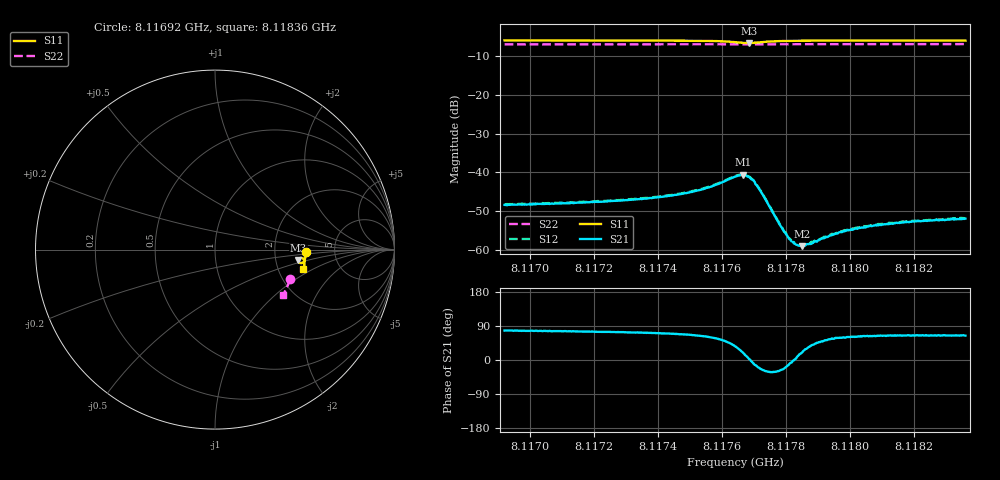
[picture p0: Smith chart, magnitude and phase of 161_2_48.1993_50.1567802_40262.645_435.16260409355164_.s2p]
#  HZ  S  RI  R  50.00
! Rohde & Schwarz Vector Network Analyzer
! Rohde-Schwarz,ZNB20-2Port,1311601062101988,3.16
! Created: UTC 3/20/2024, 11:43:13 AM
! freq[Hz]  re:S11  im:S11  re:S21  im:S21  re:S12  im:S12  re:S22  im:S22
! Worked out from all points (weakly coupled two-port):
!   401 points, 8.11692 GHz to 8.11836 GHz, reference 50 ohm
!   highest |S21| = -40.64 dB at 8.117665 GHz (marker M1); lowest = -59.1 dB at 8.117849 GHz (marker M2)
!   lowest |S11| = -6.6 dB at 8.117683 GHz (marker M3), VSWR 2.76, Z = 135 - j20 ohm
!   |S11| at or under -10 dB: nowhere
!   |S22| runs from -6.9 to -6.8 dB; largest |S21 - S12| = 0.00048
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8.1169199e9  0.5061 -0.0108  0.000807 0.0037  0.000855 0.00377  0.4196 -0.1641
8.1171611e9  0.5049 -0.03  0.00104 0.00392  0.00107 0.00399  0.4138 -0.1799
8.1172871e9  0.5036 -0.0404  0.00122 0.00414  0.00129 0.00421  0.4106 -0.188
8.1174023e9  0.5019 -0.0509  0.00158 0.0045  0.00166 0.00454  0.4074 -0.1955
8.1174706e9  0.5 -0.0578  0.00196 0.00486  0.00203 0.00487  0.4053 -0.2001
8.117539e9  0.4963 -0.0658  0.00273 0.00538  0.00282 0.00548  0.4033 -0.2044
8.1176398e9  0.4757 -0.0755  0.00704 0.00521  0.00726 0.00527  0.3994 -0.2107
8.117665e9  0.4662 -0.0682  0.00876 0.00309  0.00893 0.00293  0.3983 -0.2118
8.117683e9  0.4646 -0.0581  0.00871 0.000508  0.00879 0.000421  0.3979 -0.2122
8.117701e9  0.4696 -0.0493  0.00737 -0.00163  0.00732 -0.0016  0.3975 -0.2132
8.1177154e9  0.4761 -0.046  0.00569 -0.00217  0.00578 -0.00226  0.3977 -0.214
8.1177874e9  0.4948 -0.055  0.00171 -0.000803  0.00174 -0.00081  0.3962 -0.2189
8.117809e9  0.4965 -0.0585  0.00135 -0.000262  0.00137 -0.000326  0.3957 -0.2203
8.1178306e9  0.4975 -0.0618  0.00115 8.56e-05  0.00121 0.0001  0.3948 -0.2218
8.1178486e9  0.4981 -0.0643  0.00105 0.000363  0.00107 0.000394  0.3944 -0.2229
8.117881e9  0.4984 -0.0684  0.000931 0.00077  0.000982 0.000807  0.3933 -0.2247
8.1179386e9  0.4984 -0.0748  0.000875 0.00125  0.000903 0.0013  0.3915 -0.2287
8.1179854e9  0.4982 -0.0793  0.000891 0.0015  0.000911 0.00152  0.3898 -0.2317
8.1180466e9  0.4975 -0.0848  0.000881 0.00172  0.000923 0.00179  0.3879 -0.2352
8.1181222e9  0.4965 -0.0913  0.000926 0.00194  0.000979 0.00201  0.3854 -0.2402
8.1182014e9  0.4954 -0.0978  0.000989 0.00209  0.00102 0.00215  0.3826 -0.2447
8.1183598e9  0.4927 -0.1101  0.00109 0.00226  0.00112 0.0023  0.3767 -0.2545
